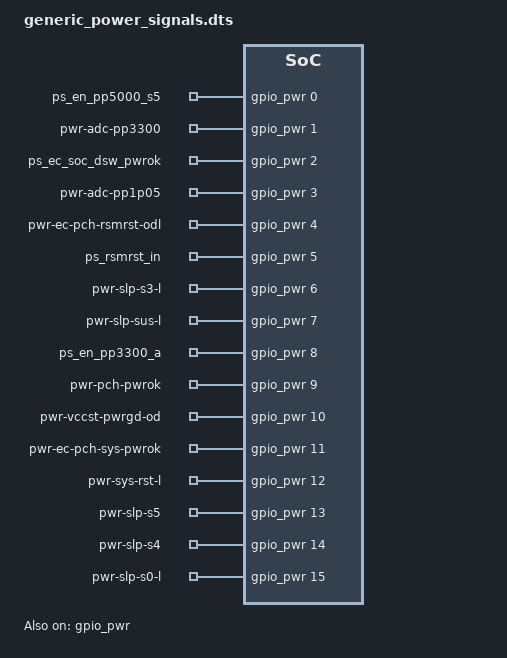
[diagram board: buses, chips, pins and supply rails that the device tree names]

/ {
	/* A fake GPIO bank for all of the power signals. */
	gpio_pwr: gpio@1000 {
		status = "okay";
		compatible = "zephyr,gpio-emul";
		reg = <0x1000 0x4>;
		rising-edge;
		falling-edge;
		high-level;
		low-level;
		gpio-controller;
		#gpio-cells = <2>;
		ngpios = <32>;
	};

	named-gpios {
		gpio_all_sys_pwrgd: all_sys_pwrgd {
			gpios = <&gpioa 7 GPIO_INPUT>;
		};
		gpio_ec_soc_pwr_btn_odl: ec_soc_pwr_btn_odl {
			gpios = <&gpioc 1 GPIO_ODR_HIGH>;
			enum-name = "GPIO_PCH_PWRBTN_L";
		};
		gpio_gsc_ec_pwr_btn_odl: gsc_ec_pwr_btn_odl {
			gpios = <&gpio0 0 GPIO_INPUT_PULL_UP>;
			enum-name = "GPIO_POWER_BUTTON_L";
		};
	};

	common-pwrseq {
		compatible = "intel,ap-pwrseq";

		sys-pwrok-delay = <10>;
		all-sys-pwrgd-timeout = <20>;
	};

	ps_en_pp5000_s5: pwr-en-pp5000-s5 {
		compatible = "intel,ap-pwrseq-gpio";
		dbg-label = "PP5000_S5 enable output to regulator";
		enum-name = "PWR_EN_PP5000_A";
		gpios = <&gpio_pwr 0 0>;
		output;
	};
	pwr-adc-pp3300 {
		compatible = "intel,ap-pwrseq-gpio";
		dbg-label = "PP3300 PWROK";
		enum-name = "PWR_DSW_PWROK";
		gpios = <&gpio_pwr 1 0>;
	};
	ps_ec_soc_dsw_pwrok: pwr-ec-soc-dsw-pwrok {
		compatible = "intel,ap-pwrseq-gpio";
		dbg-label = "DSW_PWROK output to PCH";
		enum-name = "PWR_EC_SOC_DSW_PWROK";
		gpios = <&gpio_pwr 2 0>;
		output;
	};
	pwr-adc-pp1p05 {
		compatible = "intel,ap-pwrseq-gpio";
		dbg-label = "PP1P05 PWROK";
		enum-name = "PWR_PG_PP1P05";
		gpios = <&gpio_pwr 3 0>;
	};
	pwr-ec-pch-rsmrst-odl {
		compatible = "intel,ap-pwrseq-gpio";
		dbg-label = "RSMRST output to PCH";
		enum-name = "PWR_EC_PCH_RSMRST";
		gpios = <&gpio_pwr 4 0>;
		output;
	};
	ps_rsmrst_in: pwr-pg-ec-rsmrst-od {
		compatible = "intel,ap-pwrseq-gpio";
		dbg-label = "RSMRST power good from regulator";
		enum-name = "PWR_RSMRST";
		gpios = <&gpio_pwr 5 0>;
		interrupt-flags = <GPIO_INT_EDGE_BOTH>;
	};
	pwr-slp-s3-l {
		compatible = "intel,ap-pwrseq-gpio";
		dbg-label = "SLP_S3_L input from PCH";
		enum-name = "PWR_SLP_S3";
		gpios = <&gpio_pwr 6 0>;
		interrupt-flags = <GPIO_INT_EDGE_BOTH>;
	};
	pwr-slp-sus-l {
		compatible = "intel,ap-pwrseq-gpio";
		dbg-label = "SLP_SUS_L input from PCH";
		enum-name = "PWR_SLP_SUS";
		gpios = <&gpio_pwr 7 0>;
		interrupt-flags = <GPIO_INT_EDGE_BOTH>;
	};
	ps_en_pp3300_a: pwr-en-pp3300-s5 {
		compatible = "intel,ap-pwrseq-gpio";
		dbg-label = "PP3300_S5 enable output to LS";
		enum-name = "PWR_EN_PP3300_A";
		gpios = <&gpio_pwr 8 0>;
		output;
	};
	pwr-pch-pwrok {
		compatible = "intel,ap-pwrseq-gpio";
		dbg-label = "PCH_PWROK output to PCH";
		enum-name = "PWR_PCH_PWROK";
		gpios = <&gpio_pwr 9 0>;
		output;
	};
	pwr-all-sys-pwrgd {
		compatible = "intel,ap-pwrseq-external";
		dbg-label = "Combined all power good";
		enum-name = "PWR_ALL_SYS_PWRGD";
	};
	pwr-vccst-pwrgd-od {
		compatible = "intel,ap-pwrseq-gpio";
		dbg-label = "VCCST_PWRGD output to PCH";
		enum-name = "PWR_VCCST_PWRGD";
		gpios = <&gpio_pwr 10 0>;
		output;
	};
		pwr-ec-pch-sys-pwrok {
		compatible = "intel,ap-pwrseq-gpio";
		dbg-label = "SYS_PWROK output to PCH";
		enum-name = "PWR_EC_PCH_SYS_PWROK";
		gpios = <&gpio_pwr 11 0>;
		output;
	};
	pwr-sys-rst-l {
		compatible = "intel,ap-pwrseq-gpio";
		dbg-label = "SYS_RESET# output to PCH";
		enum-name = "PWR_SYS_RST";
		gpios = <&gpio_pwr 12 0>;
		output;
	};
	pwr-slp-s5 {
		compatible = "intel,ap-pwrseq-gpio";
		dbg-label = "SLP_S5 input from PCH";
		enum-name = "PWR_SLP_S5";
		gpios = <&gpio_pwr 13 0>;
	};
	pwr-slp-s4 {
		compatible = "intel,ap-pwrseq-gpio";
		dbg-label = "SLP_S4 input from PCH";
		enum-name = "PWR_SLP_S4";
		gpios = <&gpio_pwr 14 0>;
	};
	pwr-slp-s0-l {
		compatible = "intel,ap-pwrseq-gpio";
		dbg-label = "SLP_S0_L input from PCH";
		enum-name = "PWR_SLP_S0";
		gpios = <&gpio_pwr 15 0>;
		interrupt-flags = <GPIO_INT_EDGE_BOTH>;
	};

	/*
	 * Power signal emulation.
	 *
	 * When loaded by a test with power_signal_emul_load(), these make EC power
	 * inputs respond to changing outputs in the way a SoC will.
	 */
	en_pp5000_emul: en-pp5000-emul {
		/* When PP5000_S5 is enabled by EC, regulator asserts OK */
		compatible = "intel,ap-pwr-signal-emul";
		input-signal = <&ps_en_pp5000_s5>;
		init-value = <0>;
		pp5000-rsmrst-emul {
			output-signal = <&ps_rsmrst_in>;
			assert-delay-ms = <40>;
			init-value= <0>;
		};
	};

	en_pp3300_emul: en-pp3300-emul {
		/* When PP3000_S5 is enabled by EC, SoC asserts DSW_PWROK. */
		compatible = "intel,ap-pwr-signal-emul";
		input-signal = <&ps_en_pp3300_a>;
		init-value = <0>;
		pp3300-dsw-pwrok-emul {
			output-signal = <&ps_ec_soc_dsw_pwrok>;
			assert-delay-ms = <10>;
			init-value= <0>;
		};
	};

	sequence_g3_to_s5: sequence-g3-to-s5 {
		compatible = "intel,ap-pwr-test-platform";
		nodes = <&en_pp5000_emul &en_pp3300_emul>;
	};
};

&int_usb_c0 {
	status = "disabled";
};

&int_usb_c1 {
	status = "disabled";
};
